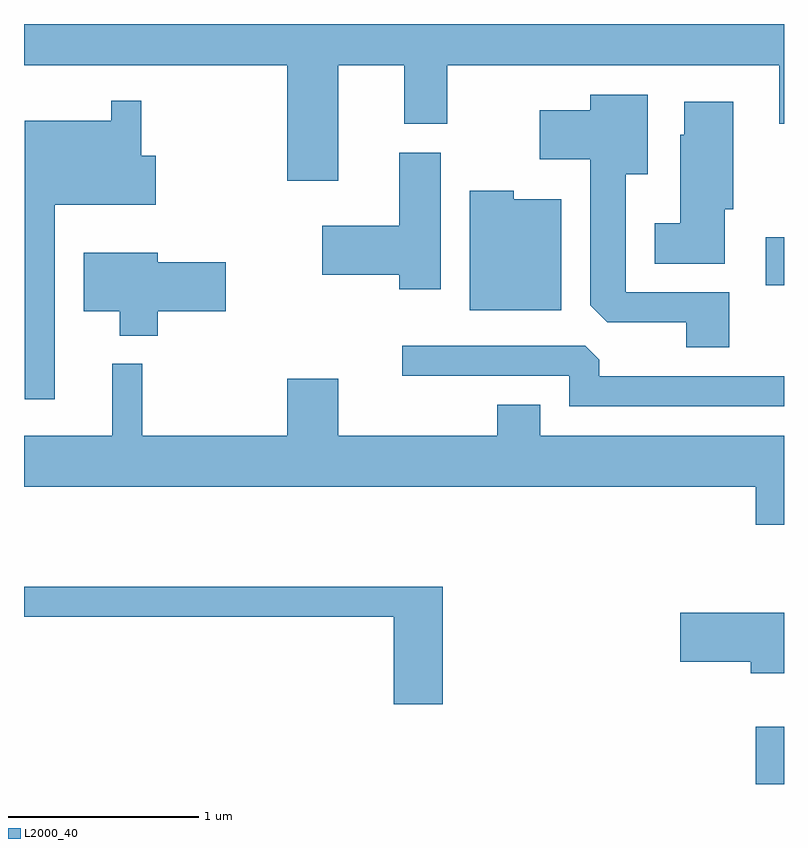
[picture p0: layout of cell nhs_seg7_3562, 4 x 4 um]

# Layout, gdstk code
import gdstk
lib = gdstk.Library(unit=1e-6, precision=1e-09)
def R(c, l, rs):  # rectangles x0, y0, x1, y1
    for r in rs: c.add(gdstk.rectangle(r[:2], r[2:], *l))
def P(c, l, *ps):  # polygons
    for p in ps: c.add(gdstk.Polygon(p, *l))
L2000_40 = (2000, 40)

nhs_seg7_3562 = lib.new_cell('nhs_seg7_3562')
R(nhs_seg7_3562, L2000_40, [(297.461,1768.252,297.611,1768.554), (297.516,1770.876,297.611,1771.129)])
P(nhs_seg7_3562, L2000_40, [(295.264,1772.036),(295.611,1772.036),(295.611,1771.726),(295.839,1771.726),(295.839,1772.036),(297.586,1772.036),(297.586,1771.726),(297.611,1771.726),(297.611,1772.252),(293.611,1772.252),(293.611,1772.036),(294.996,1772.036),(294.996,1771.426),(295.264,1771.426)],
  [(297.324,1770.839),(296.779,1770.839),(296.779,1771.461),(296.894,1771.461),(296.894,1771.879),(296.591,1771.879),(296.591,1771.799),(296.326,1771.799),(296.326,1771.541),(296.591,1771.541),(296.591,1770.772),(296.682,1770.681),(297.096,1770.681),(297.096,1770.551),(297.324,1770.551)],
  [(293.774,1771.301),(294.304,1771.301),(294.304,1771.559),(294.229,1771.559),(294.229,1771.848),(294.071,1771.848),(294.071,1771.744),(293.616,1771.744),(293.616,1770.278),(293.774,1770.278)],
  [(297.299,1771.276),(297.344,1771.276),(297.344,1771.844),(297.086,1771.844),(297.086,1771.669),(297.066,1771.669),(297.066,1771.204),(296.931,1771.204),(296.931,1770.991),(297.299,1770.991)],
  [(295.804,1771.574),(295.586,1771.574),(295.586,1771.189),(295.181,1771.189),(295.181,1770.931),(295.586,1770.931),(295.586,1770.856),(295.804,1770.856)],
  [(296.439,1771.329),(296.189,1771.329),(296.189,1771.374),(295.956,1771.374),(295.956,1770.746),(296.439,1770.746)],
  [(294.314,1770.741),(294.674,1770.741),(294.674,1770.999),(294.314,1770.999),(294.314,1771.049),(293.926,1771.049),(293.926,1770.741),(294.116,1770.741),(294.116,1770.611),(294.314,1770.611)],
  [(297.611,1770.399),(296.639,1770.399),(296.639,1770.484),(296.564,1770.559),(295.603,1770.559),(295.603,1770.401),(296.481,1770.401),(296.481,1770.241),(297.611,1770.241)],
  [(294.076,1770.463),(294.076,1770.084),(293.611,1770.084),(293.611,1769.816),(297.461,1769.816),(297.461,1769.616),(297.611,1769.616),(297.611,1770.084),(296.329,1770.084),(296.329,1770.249),(296.101,1770.249),(296.101,1770.084),(295.264,1770.084),(295.264,1770.384),(294.996,1770.384),(294.996,1770.084),(294.234,1770.084),(294.234,1770.463)],
  [(295.814,1769.289),(293.611,1769.289),(293.611,1769.131),(295.556,1769.131),(295.556,1768.671),(295.814,1768.671)],
  [(297.611,1769.154),(297.066,1769.154),(297.066,1768.896),(297.436,1768.896),(297.436,1768.836),(297.611,1768.836)])

lib.write_gds('nhs_seg7_3562.gds')
